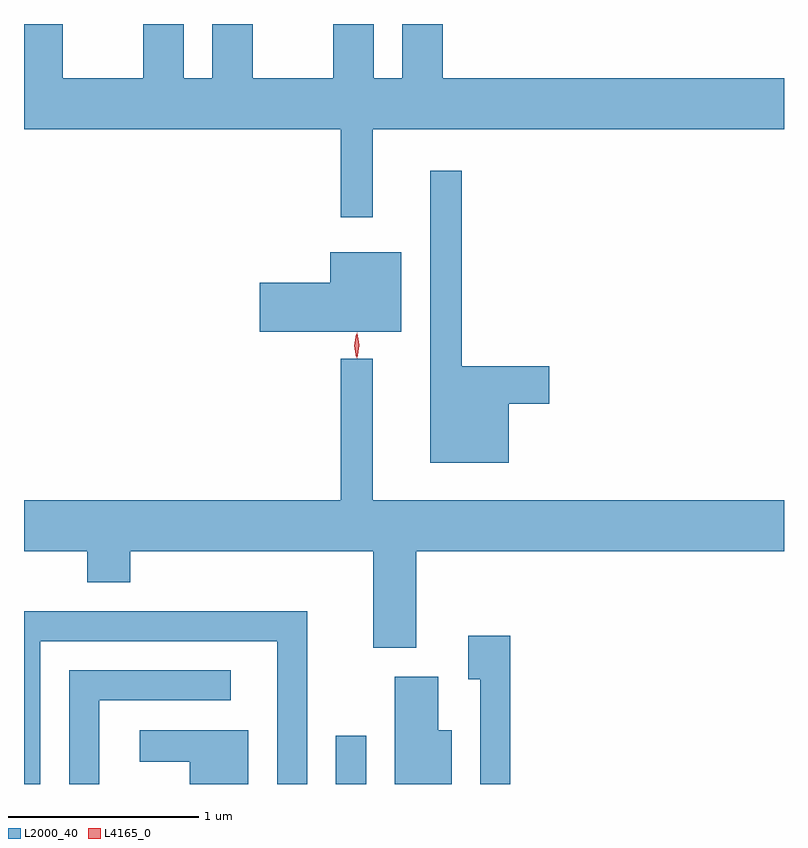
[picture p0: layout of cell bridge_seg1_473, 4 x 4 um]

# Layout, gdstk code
import gdstk
lib = gdstk.Library(unit=1e-6, precision=1e-09)
def R(c, l, rs):  # rectangles x0, y0, x1, y1
    for r in rs: c.add(gdstk.rectangle(r[:2], r[2:], *l))
def P(c, l, *ps):  # polygons
    for p in ps: c.add(gdstk.Polygon(p, *l))
L2000_40 = (2000, 40)
L4165_0 = (4165, 0)

bridge_seg1_473 = lib.new_cell('bridge_seg1_473')
R(bridge_seg1_473, L2000_40, [(511.326,847.29,511.484,847.543)])
P(bridge_seg1_473, L2000_40, [(511.519,850.736),(513.684,850.736),(513.684,851.004),(511.889,851.004),(511.889,851.29),(511.676,851.29),(511.676,851.004),(511.524,851.004),(511.524,851.29),(511.311,851.29),(511.311,851.004),(510.889,851.004),(510.889,851.29),(510.676,851.29),(510.676,851.004),(510.524,851.004),(510.524,851.29),(510.311,851.29),(510.311,851.004),(509.889,851.004),(509.889,851.29),(509.684,851.29),(509.684,850.736),(511.351,850.736),(511.351,850.273),(511.519,850.273)],
  [(512.234,849.291),(512.449,849.291),(512.449,849.489),(511.989,849.489),(511.989,850.518),(511.821,850.518),(511.821,848.981),(512.234,848.981)],
  [(511.669,850.089),(511.296,850.089),(511.296,849.929),(510.926,849.929),(510.926,849.671),(511.669,849.671)],
  [(511.749,848.516),(513.684,848.516),(513.684,848.784),(511.519,848.784),(511.519,849.528),(511.351,849.528),(511.351,848.784),(509.684,848.784),(509.684,848.516),(510.016,848.516),(510.016,848.351),(510.244,848.351),(510.244,848.516),(511.521,848.516),(511.521,848.006),(511.749,848.006)],
  [(509.769,848.041),(511.016,848.041),(511.016,847.29),(511.174,847.29),(511.174,848.199),(509.684,848.199),(509.684,847.29),(509.769,847.29)],
  [(512.244,848.069),(512.021,848.069),(512.021,847.841),(512.086,847.841),(512.086,847.29),(512.244,847.29)],
  [(510.079,847.731),(510.773,847.731),(510.773,847.889),(509.921,847.889),(509.921,847.29),(510.079,847.29)],
  [(511.934,847.574),(511.864,847.574),(511.864,847.854),(511.636,847.854),(511.636,847.29),(511.934,847.29)],
  [(510.864,847.574),(510.293,847.574),(510.293,847.406),(510.556,847.406),(510.556,847.29),(510.864,847.29)])
P(bridge_seg1_473, L4165_0, [(511.432,849.533),(511.432,849.533),(511.422,849.596),(511.432,849.659),(511.432,849.66),(511.433,849.659),(511.442,849.596),(511.433,849.533)],
  [(511.437,849.53),(511.437,849.53),(511.428,849.598),(511.438,849.666),(511.439,849.666),(511.439,849.666),(511.448,849.598),(511.438,849.53)])

lib.write_gds('bridge_seg1_473.gds')
